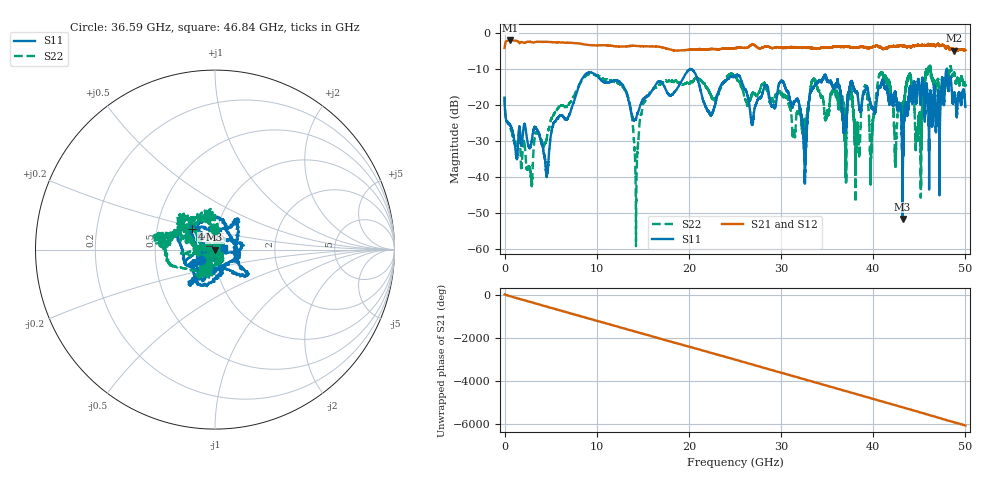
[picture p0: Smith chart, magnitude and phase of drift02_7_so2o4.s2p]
!Created with skrf (http://scikit-rf.org).
# Hz S RI R 50.0
!freq ReS11 ImS11 ReS21 ImS21 ReS12 ImS12 ReS22 ImS22
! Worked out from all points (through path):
!   10001 points, 300 kHz to 50 GHz, reference 50 ohm
!   highest |S21| = -1.99 dB at 585.3 MHz (marker M1); lowest = -4.9 dB at 48.76 GHz (marker M2)
!   group delay of S21, straight-line fit = 337 ps
!   lowest |S11| = -51.5 dB at 43.19 GHz (marker M3), VSWR 1.01, Z = 49.7 - j0.081 ohm
!   |S11| at or under -10 dB: start of sweep to 20.06 GHz; 20.21008 GHz to 20.21064 GHz (565.7 kHz wide, 0.0028 % of centre); 20.24 GHz to end of sweep (the widest 3 of 4)
!   |S22| runs from -59.1 to -9.0 dB; largest |S21 - S12| = 0.031
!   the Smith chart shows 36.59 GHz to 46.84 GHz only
!   S11 on the Smith chart (normalised r, x): 36.59 GHz: 0.85, -0.10; 44.06 GHz: 0.76, +0.18; 46.84 GHz: 1.11, +0.02
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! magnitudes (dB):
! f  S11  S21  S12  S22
! 300 kHz  -18.0  -4.0  -4.0  -17.5
! 585.3 MHz  -25.3  -2.0  -2.0  -26.0
! 4.565 GHz  -39.8  -2.4  -2.4  -29.3
! 8.335 GHz  -13.0  -2.9  -2.9  -13.2
! 13.04 GHz  -15.4  -3.7  -3.7  -15.6
! 14.28 GHz  -23.7  -3.5  -3.5  -48.8
! 16.67 GHz  -13.4  -3.7  -3.7  -14.5
! 25 GHz  -12.0  -4.1  -4.1  -12.0
! 30.16 GHz  -13.3  -4.1  -4.1  -17.1
! 32.56 GHz  -40.1  -3.9  -4.0  -24.3
! 33.34 GHz  -15.9  -4.0  -4.1  -13.7
! 36.59 GHz  -20.4  -3.7  -3.8  -19.0
! 38.28 GHz  -16.9  -4.0  -3.9  -25.2
! 39.14 GHz  -15.8  -3.8  -3.9  -14.4
! 39.8 GHz  -20.5  -4.0  -4.0  -31.3
! 41.67 GHz  -18.6  -3.8  -3.9  -12.9
! 43.19 GHz  -51.5  -3.6  -3.6  -20.7
! 44.06 GHz  -15.3  -4.0  -3.9  -11.6
! 44.99 GHz  -14.1  -3.4  -3.3  -21.7
! 46.84 GHz  -25.7  -3.3  -3.3  -14.8
! 48.76 GHz  -17.2  -4.9  -4.8  -10.9
! 50 GHz  -20.4  -4.7  -4.7  -14.8
